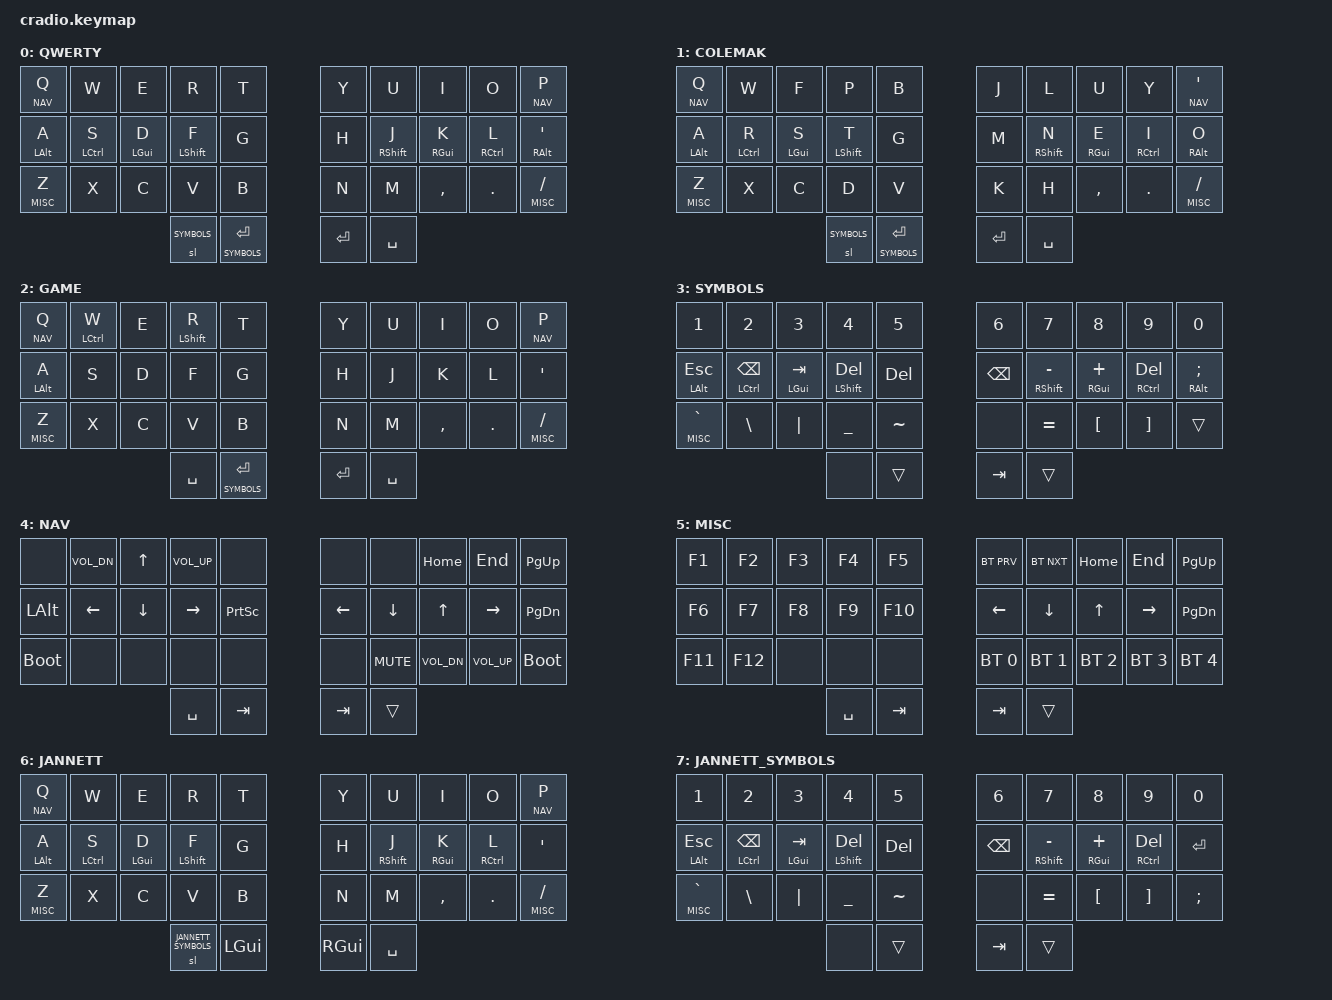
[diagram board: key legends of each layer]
/*
 * Copyright (c) 2020 The ZMK Contributors
 *
 * SPDX-License-Identifier: MIT
 */

#include <behaviors.dtsi>
#include <dt-bindings/zmk/keys.h>
#include <dt-bindings/zmk/bt.h>

#define QWERTY          0
#define COLEMAK         1
#define GAME            2
#define SYMBOLS         3
#define NAV             4
#define MISC            5
#define JANNETT         6
#define JANNETT_SYMBOLS 7

&mt {
   // flavor = "tap-preferred";
   // tapping-term-ms = <200>;
};

/ {

	behaviors {
        hm: homerow_mods {
            compatible = "zmk,behavior-hold-tap";
            label = "HOMEROW_MODS";
            #binding-cells = <2>;
            tapping-term-ms = <200>;
            quick-tap-ms = <200>;
            flavor = "tap-preferred";
            bindings = <&kp>, <&kp>;
        };
    };

    combos {
        compatible = "zmk,combos";

        combo_qwerty {
            timeout-ms = <50>;
            key-positions = <0 1 2 4>;
            bindings = <&to QWERTY>;
        };

        combo_colemak {
            timeout-ms = <50>;
            key-positions = <0 2 3 4>;
            bindings = <&to COLEMAK>;
        };

	combo_game {
	    timeout-ms = <50>;
	    key-positions = <0 1 3 4>;
	    bindings = <&to GAME>;
	};

	combo_jannett {
	    timeout-ms = <50>;
	    key-positions = <10 11 13 14>;
	    bindings = <&to GAME>;
	};

	combo_esc {
	    timeout-ms = <50>;
	    key-positions = <30 10>;
	    layers = <0 1 2 3>;
	    bindings = <&kp ESC>;
	};

        combo_tab {
            timeout-ms = <50>;
            key-positions = <30 12>;
            layers = <0 1 2 3>;
            bindings = <&kp TAB>;
        };

        combo_stab {
            timeout-ms = <50>;
            key-positions = <30 12 13>;
            layers = <0 1 2 3>;
            bindings = <&kp LS(TAB)>;
        };

        combo_btclr {
            timeout-ms = <50>;
            key-positions = <20 5 6>;
            layers = <0 1 2 3>;
            bindings = <&bt BT_CLR>;
        };

    };

        keymap {
                compatible = "zmk,keymap";
                
       		QWERTY {
		bindings = <
		&lt NAV Q  &kp W       &kp E      &kp R        &kp T 			&kp Y   &kp U        &kp I      &kp O       &lt NAV P 
		&hm LALT A &hm LCTRL S &hm LGUI D &hm LSHIFT F &kp G 	               	&kp H   &hm RSHIFT J &hm RGUI K &hm RCTRL L &hm RALT QUOT
		&lt MISC Z &kp X       &kp C      &kp V        &kp B		       	&kp N   &kp M        &kp CMMA   &kp DOT     &lt MISC SLASH
          				          &sl SYMBOLS  &lt SYMBOLS RET          &kp RET &kp SPACE 
		>;
		};

       		COLEMAK {
		bindings = <
		&lt NAV Q  &kp W       &kp F      &kp P        &kp B 			&kp J   &kp L        &kp U      &kp Y       &lt NAV QUOT 
		&hm LALT A &hm LCTRL R &hm LGUI S &hm LSHIFT T &kp G 	               	&kp M   &hm RSHIFT N &hm RGUI E &hm RCTRL I &hm RALT O
		&lt MISC Z &kp X       &kp C      &kp D        &kp V		       	&kp K   &kp H        &kp CMMA   &kp DOT     &lt MISC SLASH
          				          &sl SYMBOLS  &lt SYMBOLS RET          &kp RET &kp SPACE 
		>;
		};

       		GAME {
		bindings = <
		&lt NAV Q  &hm LCTRL W &kp E &hm LSHIFT R &kp T		                &kp Y   &kp U &kp I    &kp O   &lt NAV P 
		&hm LALT A &kp S       &kp D &kp F        &kp G 	                &kp H   &kp J &kp K    &kp L   &kp QUOT 
		&lt MISC Z &kp X       &kp C &kp V        &kp B 	                &kp N   &kp M &kp CMMA &kp DOT &lt MISC SLASH 
					     &kp SPACE    &lt SYMBOLS RET	        &kp RET &kp SPACE 
		>;
		};
		
		SYMBOLS {
		bindings = <
		&kp N1         &kp N2         &kp N3       &kp N4         &kp N5  	&kp N6    &kp N7           &kp N8         &kp N9        &kp N0 
		&hm LALT ESC   &hm LCTRL BSPC &hm LGUI TAB &hm LSHIFT DEL &kp DEL       &kp BSPC  &hm RSHIFT MINUS &hm RGUI PLUS  &hm RCTRL DEL &hm RALT SEMI
		&lt MISC GRAVE &kp BSLH       &kp PIPE     &kp UNDER      &kp TILDE    	&none 	  &kp EQUAL        &kp LBKT       &kp RBKT      &trans
			 		                   &none          &trans  	&kp TAB   &trans 
		>;
		};	
		
		NAV {
		bindings = <
		&none   	&kp C_VOL_DN &kp UP     &kp C_VOL_UP &none 			&none        &none      &kp HOME     &kp END      &kp PG_UP
		&kp LALT	&kp LEFT     &kp DOWN   &kp RIGHT    &kp PRINTSCREEN	 	&kp LEFT     &kp DOWN   &kp UP       &kp RIGHT    &kp PG_DN 
		&bootloader     &none        &none      &none        &none		 	&none	     &kp K_MUTE &kp C_VOL_DN &kp C_VOL_UP &bootloader 
					         	&kp SPACE    &kp TAB  			&kp TAB      &trans 
		>;
		};	

       		MISC {
		bindings = <
		&kp F1       &kp F2 	  &kp F3       &kp F4	    &kp F5	  	&bt BT_PRV   &bt BT_NXT   &kp HOME     &kp END      &kp PG_UP
		&kp F6       &kp F7 	  &kp F8       &kp F9	    &kp F10             &kp LEFT     &kp DOWN     &kp UP       &kp RIGHT    &kp PG_DN 
		&kp F11      &kp F12      &none        &none        &none               &bt BT_SEL 0 &bt BT_SEL 1 &bt BT_SEL 2 &bt BT_SEL 3 &bt BT_SEL 4 
			   	    		       &kp SPACE    &kp TAB 		&kp TAB  &trans 
		>;
		};
                
       		JANNETT {
		bindings = <
		&lt NAV Q  &kp W       &kp E      &kp R                &kp T 			&kp Y      &kp U        &kp I      &kp O       &lt NAV P 
		&hm LALT A &hm LCTRL S &hm LGUI D &hm LSHIFT F         &kp G 	               	&kp H      &hm RSHIFT J &hm RGUI K &hm RCTRL L &kp QUOT
		&lt MISC Z &kp X       &kp C      &kp V                &kp B		       	&kp N      &kp M        &kp CMMA   &kp DOT     &lt MISC SLASH
          				          &sl JANNETT_SYMBOLS  &kp LGUI                 &kp RGUI   &kp SPACE 
		>;
		};
		
		JANNETT_SYMBOLS {
		bindings = <
		&kp N1         &kp N2         &kp N3       &kp N4         &kp N5  	&kp N6    &kp N7           &kp N8         &kp N9        &kp N0 
		&hm LALT ESC   &hm LCTRL BSPC &hm LGUI TAB &hm LSHIFT DEL &kp DEL       &kp BSPC  &hm RSHIFT MINUS &hm RGUI PLUS  &hm RCTRL DEL &kp RET
		&lt MISC GRAVE &kp BSLH       &kp PIPE     &kp UNDER      &kp TILDE    	&none 	  &kp EQUAL        &kp LBKT       &kp RBKT      &kp SEMI
			 		                   &none          &trans  	&kp TAB   &trans 
		>;
		};	
        
	};
};
